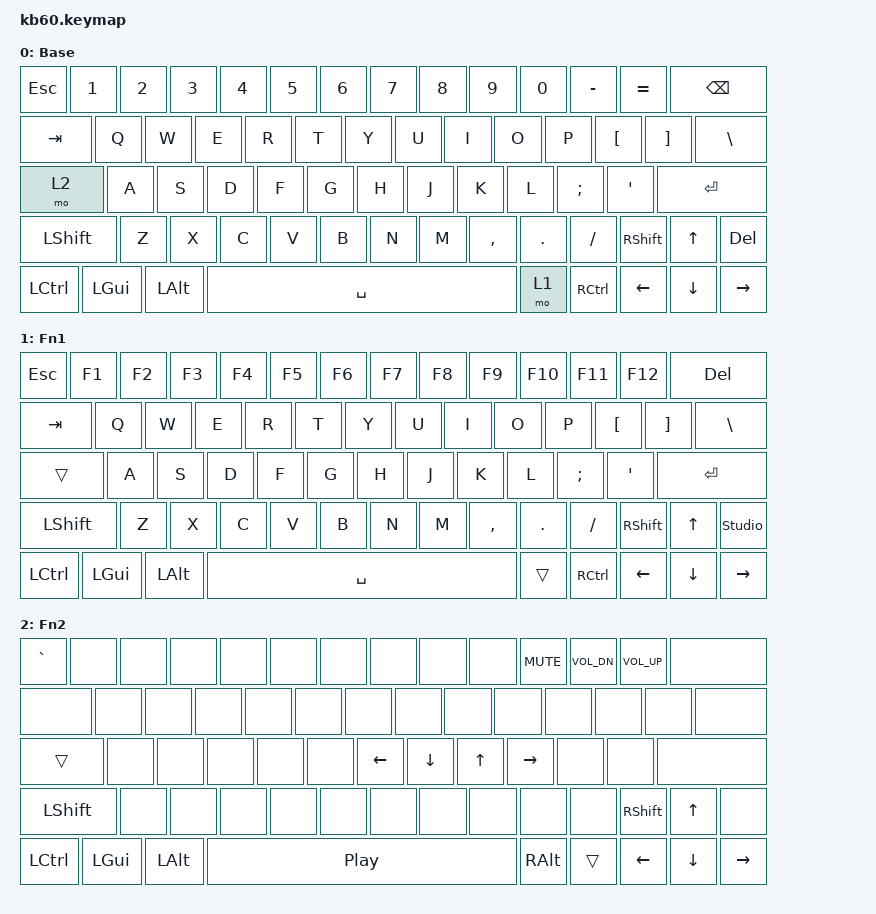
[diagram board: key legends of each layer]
// This file was generated from a template. Edit it to match your keyboard.
// See https://zmk.dev/docs/development/hardware-integration/new-shield for more instructions.

#include <behaviors.dtsi>
#include <dt-bindings/zmk/keys.h>
#include <dt-bindings/zmk/bt.h>

/ {
    // Define a default keymap here.
    // See https://zmk.dev/docs/development/hardware-integration/new-shield#default-keymap.
    keymap {
        compatible = "zmk,keymap";

        default_layer {
            display-name = "Base";
            bindings = <
                &kp ESC   &kp N1    &kp N2    &kp N3    &kp N4    &kp N5    &kp N6    &kp N7    &kp N8    &kp N9    &kp N0    &kp MINUS &kp EQUAL &kp BSPC
                &kp TAB   &kp Q     &kp W     &kp E     &kp R     &kp T     &kp Y     &kp U     &kp I     &kp O     &kp P     &kp LBKT  &kp RBKT  &kp BSLH
                &mo 2     &kp A     &kp S     &kp D     &kp F     &kp G     &kp H     &kp J     &kp K     &kp L     &kp SEMI  &kp SQT   &kp RET
                &kp LSHFT &kp Z     &kp X     &kp C     &kp V     &kp B     &kp N     &kp M     &kp COMMA &kp DOT   &kp FSLH  &kp RSHFT &kp UP    &kp DEL
                &kp LCTRL &kp LGUI  &kp LALT                      &kp SPACE                               &mo 1     &kp RCTRL &kp LEFT  &kp DOWN  &kp RIGHT
            >;
        };

        fn1 {
            display-name = "Fn1";
            bindings = <
                &kp ESC   &kp F1    &kp F2    &kp F3    &kp F4    &kp F5    &kp F6    &kp F7    &kp F8    &kp F9    &kp F10   &kp F11   &kp F12   &kp DEL
                &kp TAB   &kp Q     &kp W     &kp E     &kp R     &kp T     &kp Y     &kp U     &kp I     &kp O     &kp P     &kp LBKT  &kp RBKT  &kp BSLH
                &trans    &kp A     &kp S     &kp D     &kp F     &kp G     &kp H     &kp J     &kp K     &kp L     &kp SEMI  &kp SQT   &kp RET
                &kp LSHFT &kp Z     &kp X     &kp C     &kp V     &kp B     &kp N     &kp M     &kp COMMA &kp DOT   &kp FSLH  &kp RSHFT &kp UP    &studio_unlock
                &kp LCTRL &kp LGUI  &kp LALT                      &kp SPACE                               &trans    &kp RCTRL &kp LEFT  &kp DOWN  &kp RIGHT
            >;
        };

        fn2 {
            display-name = "Fn2";
            bindings = <
                &kp GRAVE &none     &none     &none     &none     &none     &none     &none     &none     &none     &kp C_MUTE &kp C_VOL_DN &kp C_VOL_UP &none
                &none     &none     &none     &none     &none     &none     &none     &none     &none     &none     &none      &none        &none        &none
                &trans    &none     &none     &none     &none     &none     &kp LEFT  &kp DOWN  &kp UP    &kp RIGHT &none      &none        &none
                &kp LSHFT &none     &none     &none     &none     &none     &none     &none     &none     &none     &none      &kp RSHFT    &kp UP       &none
                &kp LCTRL &kp LGUI  &kp LALT                      &kp C_PLAY_PAUSE                        &kp RALT  &trans     &kp LEFT     &kp DOWN     &kp RIGHT
            >;
        };

        extra1 {
            status = "reserved";
        };

        extra2 {
            status = "reserved";
        };

        extra3 {
            status = "reserved";
        };
    };
};
